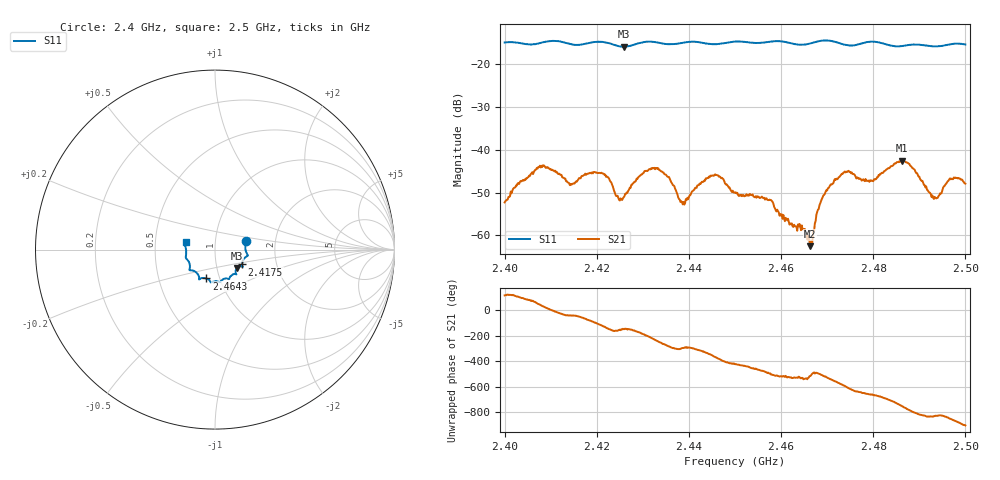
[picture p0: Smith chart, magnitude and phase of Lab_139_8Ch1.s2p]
# Hz S RI R 50
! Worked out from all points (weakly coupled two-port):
!   601 points, 2.4 GHz to 2.5 GHz, reference 50 ohm
!   highest |S21| = -42.57 dB at 2.4862 GHz (marker M1); lowest = -62.5 dB at 2.4663 GHz (marker M2)
!   lowest |S11| = -16.0 dB at 2.4258 GHz (marker M3), VSWR 1.38, Z = 62.4 - j13 ohm
!   |S11| at or under -10 dB: start of sweep to end of sweep
!   S12 and S22 are empty: the file has one direction only
!   S11 on the Smith chart (normalised r, x): 2.4 GHz: 1.41, +0.14; 2.4175 GHz: 1.33, -0.23; 2.4643 GHz: 0.86, -0.29; 2.5 GHz: 0.72, +0.06
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2.4e9  0.1717 0.0493  -0.00107 0.00218  0 0  0 0
2.407833e9  0.1756 -0.0178  0.00483 0.0039  0 0  0 0
2.414167e9  0.1649 -0.0465  0.0029 -0.00255  0 0  0 0
2.416667e9  0.152 -0.0731  0.00265 -0.00411  0 0  0 0
2.4175e9  0.151 -0.0826  0.002 -0.00487  0 0  0 0
2.421333e9  0.1539 -0.0953  -0.00306 -0.00429  0 0  0 0
2.425833e9  0.122 -0.1019  -0.0024 -0.00144  0 0  0 0
2.433333e9  0.1139 -0.1361  -0.0025 0.00556  0 0  0 0
2.438667e9  0.081 -0.1574  0.00106 0.00204  0 0  0 0
2.445167e9  0.0551 -0.1611  0.00501 0.000268  0 0  0 0
2.45e9  0.0297 -0.1807  0.00138 -0.00283  0 0  0 0
2.457667e9  -0.0167 -0.1816  -0.00191 -0.00176  0 0  0 0
2.464333e9  -0.0486 -0.1606  -0.00115 -9.09e-05  0 0  0 0
2.466333e9  -0.0716 -0.1584  -0.000692 -0.00029  0 0  0 0
2.466667e9  -0.0749 -0.159  -0.000609 -0.000463  0 0  0 0
2.468833e9  -0.0871 -0.1658  -0.00229 -0.00135  0 0  0 0
2.472e9  -0.0874 -0.1569  -0.00425 0.00176  0 0  0 0
2.483333e9  -0.1397 -0.0909  0.00584 0.00179  0 0  0 0
2.486167e9  -0.1495 -0.0621  0.00632 -0.00392  0 0  0 0
2.493167e9  -0.1602 -0.0131  -0.00101 -0.00246  0 0  0 0
2.497e9  -0.1689 0.0265  -0.00333 -0.00317  0 0  0 0
2.5e9  -0.1642 0.0413  -0.004 0.00039  0 0  0 0
